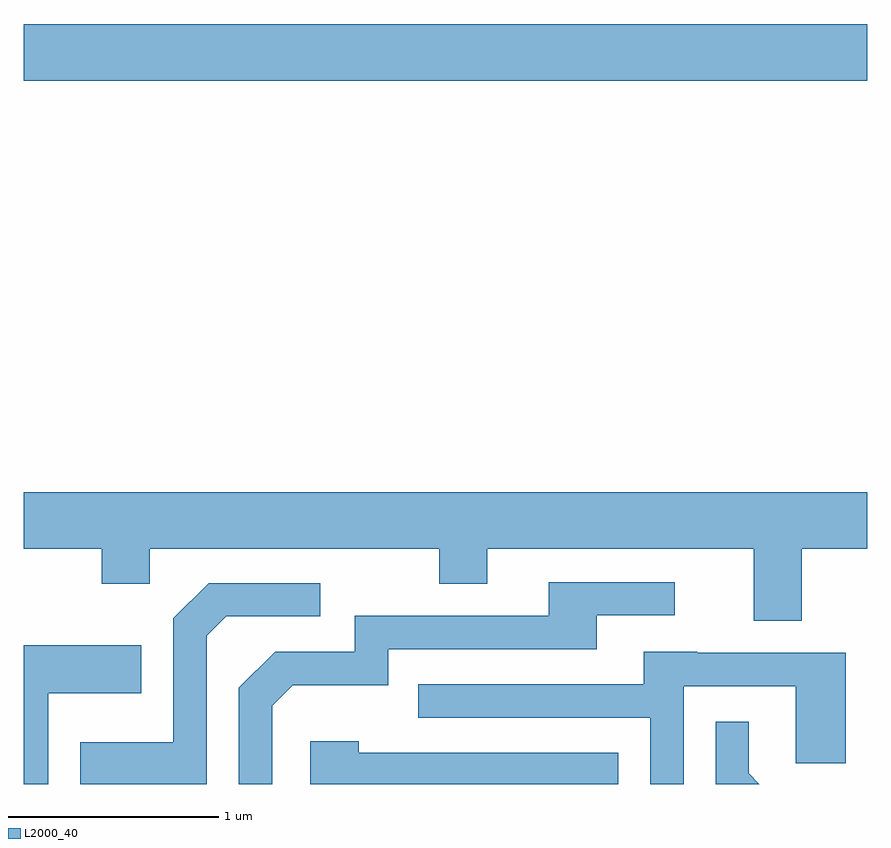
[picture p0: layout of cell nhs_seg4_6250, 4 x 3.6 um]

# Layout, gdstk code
import gdstk
lib = gdstk.Library(unit=1e-6, precision=1e-09)
def R(c, l, rs):  # rectangles x0, y0, x1, y1
    for r in rs: c.add(gdstk.rectangle(r[:2], r[2:], *l))
def P(c, l, *ps):  # polygons
    for p in ps: c.add(gdstk.Polygon(p, *l))
L2000_40 = (2000, 40)

nhs_seg4_6250 = lib.new_cell('nhs_seg4_6250')
R(nhs_seg4_6250, L2000_40, [(367.611,1381.316,371.611,1381.584)])
P(nhs_seg4_6250, L2000_40, [(371.299,1379.096),(371.611,1379.096),(371.611,1379.364),(367.611,1379.364),(367.611,1379.096),(367.981,1379.096),(367.981,1378.931),(368.209,1378.931),(368.209,1379.096),(369.581,1379.096),(369.581,1378.931),(369.809,1378.931),(369.809,1379.096),(371.071,1379.096),(371.071,1378.756),(371.299,1378.756)],
  [(368.789,1378.354),(368.887,1378.451),(369.339,1378.451),(369.339,1378.621),(370.329,1378.621),(370.329,1378.781),(370.698,1378.781),(370.698,1378.939),(370.101,1378.939),(370.101,1378.779),(369.181,1378.779),(369.181,1378.609),(368.804,1378.609),(368.631,1378.437),(368.631,1377.982),(368.789,1377.982)],
  [(368.479,1378.684),(368.572,1378.776),(369.018,1378.776),(369.018,1378.934),(368.489,1378.934),(368.321,1378.767),(368.321,1378.179),(367.881,1378.179),(367.881,1377.982),(368.479,1377.982)],
  [(367.729,1378.411),(368.169,1378.411),(368.169,1378.639),(367.611,1378.639),(367.611,1377.982),(367.729,1377.982)],
  [(370.739,1378.446),(371.271,1378.446),(371.271,1378.081),(371.509,1378.081),(371.509,1378.604),(370.805,1378.604),(370.805,1378.609),(370.551,1378.609),(370.551,1378.454),(369.483,1378.454),(369.483,1378.296),(370.581,1378.296),(370.581,1377.982),(370.739,1377.982)],
  [(371.049,1378.032),(371.049,1378.278),(370.891,1378.278),(370.891,1377.982),(371.099,1377.982)],
  [(370.429,1378.129),(369.199,1378.129),(369.199,1378.184),(368.971,1378.184),(368.971,1377.982),(370.429,1377.982)])

lib.write_gds('nhs_seg4_6250.gds')
